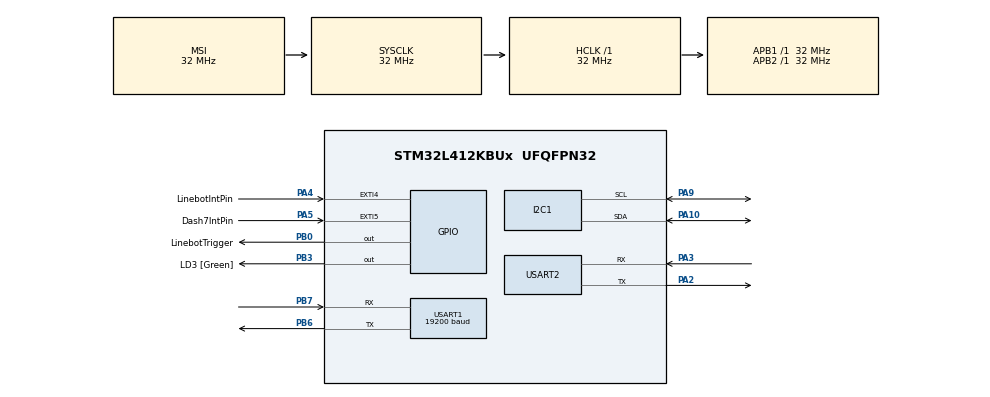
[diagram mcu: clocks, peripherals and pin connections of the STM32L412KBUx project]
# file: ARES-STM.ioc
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Dma.Request0=USART2_RX
Dma.Request1=USART1_RX
Dma.USART1_RX.1.Direction=DMA_PERIPH_TO_MEMORY
Dma.USART1_RX.1.Instance=DMA1_Channel5
Dma.USART1_RX.1.MemDataAlignment=DMA_MDATAALIGN_BYTE
Dma.USART1_RX.1.MemInc=DMA_MINC_ENABLE
Dma.USART1_RX.1.Mode=DMA_NORMAL
Dma.USART1_RX.1.PeriphDataAlignment=DMA_PDATAALIGN_BYTE
Dma.USART1_RX.1.PeriphInc=DMA_PINC_DISABLE
Dma.USART1_RX.1.Priority=DMA_PRIORITY_LOW
Dma.USART2_RX.0.Direction=DMA_PERIPH_TO_MEMORY
Dma.USART2_RX.0.Instance=DMA1_Channel6
Dma.USART2_RX.0.MemDataAlignment=DMA_MDATAALIGN_BYTE
Dma.USART2_RX.0.MemInc=DMA_MINC_ENABLE
Dma.USART2_RX.0.Mode=DMA_NORMAL
Dma.USART2_RX.0.PeriphDataAlignment=DMA_PDATAALIGN_BYTE
Dma.USART2_RX.0.PeriphInc=DMA_PINC_DISABLE
Dma.USART2_RX.0.Priority=DMA_PRIORITY_HIGH
FREERTOS.Queues01=uart1Queue,16,uint16_t,0,Dynamic,NULL,NULL;uart2Queue,2,Dash7ToSTM32Message,0,Dynamic,NULL,NULL
FREERTOS.Tasks01=defaultTask,48,128,StartDefaultTask,Default,NULL,Dynamic,NULL,NULL;NavigationTask,34,128,StartNavigationTask,Default,NULL,Dynamic,NULL,NULL;DemoTask,45,128,StartDemoTask,Default,NULL,Dynamic,NULL,NULL;SensingTask,24,128,StartSensingTask,Default,NULL,Dynamic,NULL,NULL
FREERTOS.configTOTAL_HEAP_SIZE=5000
FREERTOS.configUSE_NEWLIB_REENTRANT=1
FREERTOS.configUSE_TICKLESS_IDLE=1
I2C1.Timing=0x00707CBB
Mcu.Family=STM32L4
Mcu.Name=STM32L412KBUx
Mcu.Package=UFQFPN32
NVIC.DMA1_Channel5_IRQn=true\:5\:0\:false\:false\:true\:true\:false\:true\:true
NVIC.DMA1_Channel6_IRQn=true\:5\:0\:false\:false\:true\:true\:false\:true\:true
NVIC.EXTI4_IRQn=true\:5\:0\:true\:false\:true\:true\:true\:true\:true
NVIC.EXTI9_5_IRQn=true\:5\:0\:false\:false\:true\:true\:true\:true\:true
NVIC.PriorityGroup=NVIC_PRIORITYGROUP_4
NVIC.TIM6_IRQn=true\:15\:0\:false\:false\:true\:false\:false\:true\:true
NVIC.TimeBase=TIM6_IRQn
NVIC.TimeBaseIP=TIM6
NVIC.USART2_IRQn=true\:5\:0\:false\:false\:true\:true\:true\:true\:true
PA0-CK_IN.Mode=HSE-External-Clock-Source-for-LittleOrca
PA0-CK_IN.Signal=RCC_CK_IN
PA10.Mode=I2C
PA10.Signal=I2C1_SDA
PA13\ (JTMS/SWDIO).GPIO_Label=SWDIO
PA13\ (JTMS/SWDIO).Mode=Serial_Wire
PA13\ (JTMS/SWDIO).Signal=SYS_JTMS-SWDIO
PA14\ (JTCK/SWCLK).GPIO_Label=SWCLK
PA14\ (JTCK/SWCLK).Mode=Serial_Wire
PA14\ (JTCK/SWCLK).Signal=SYS_JTCK-SWCLK
PA2.GPIO_ModeDefaultPP=GPIO_MODE_AF_PP
PA2.GPIO_PuPd=GPIO_NOPULL
PA2.GPIO_Speed=GPIO_SPEED_FREQ_VERY_HIGH
PA2.Mode=Asynchronous
PA2.Signal=USART2_TX
PA3.GPIO_ModeDefaultPP=GPIO_MODE_AF_PP
PA3.GPIO_PuPd=GPIO_NOPULL
PA3.GPIO_Speed=GPIO_SPEED_FREQ_VERY_HIGH
PA3.Mode=Asynchronous
PA3.Signal=USART2_RX
PA4.GPIO_Label=LinebotIntPin
PA4.GPIO_ModeDefaultEXTI=GPIO_MODE_IT_FALLING
PA4.GPIO_PuPd=GPIO_PULLUP
PA4.Signal=GPXTI4
PA5.GPIO_Label=Dash7IntPin
PA5.GPIO_ModeDefaultEXTI=GPIO_MODE_IT_FALLING
PA5.GPIO_PuPd=GPIO_PULLUP
PA5.Signal=GPXTI5
PA9.Mode=I2C
PA9.Signal=I2C1_SCL
PB0.GPIO_Label=LinebotTrigger
PB0.GPIO_PuPd=GPIO_PULLUP
PB0.Signal=GPIO_Output
PB3\ (JTDO/TRACESWO).GPIO_Label=LD3 [Green]
PB3\ (JTDO/TRACESWO).Signal=GPIO_Output
PB6.Mode=Asynchronous
PB6.Signal=USART1_TX
PB7.Mode=Asynchronous
PB7.Signal=USART1_RX
PC14-OSC32_IN\ (PC14).Mode=LSE-External-Oscillator
PC14-OSC32_IN\ (PC14).Signal=RCC_OSC32_IN
PC15-OSC32_OUT\ (PC15).Mode=LSE-External-Oscillator
PC15-OSC32_OUT\ (PC15).Signal=RCC_OSC32_OUT
ProjectManager.HeapSize=0x200
ProjectManager.StackSize=0x400
ProjectManager.TargetToolchain=STM32CubeIDE
RCC.ADCFreq_Value=32000000
RCC.AHBFreq_Value=32000000
RCC.APB1Freq_Value=32000000
RCC.APB1TimFreq_Value=32000000
RCC.APB2Freq_Value=32000000
RCC.APB2TimFreq_Value=32000000
RCC.CortexFreq_Value=32000000
RCC.FLatency=FLASH_LATENCY_1
RCC.HCLKFreq_Value=32000000
RCC.HSE_VALUE=8000000
RCC.HSI48_VALUE=48000000
RCC.HSICalibrationValue=16
RCC.HSI_VALUE=16000000
RCC.LSE_Drive_Capability=RCC_LSEDRIVE_LOW
RCC.MSIClockRange=RCC_MSIRANGE_10
RCC.MSI_VALUE=32000000
RCC.SYSCLKFreq_VALUE=32000000
RCC.USBFreq_Value=32000000
RCC.VCOOutputFreq_Value=256000000
USART1.BaudRate=19200
USART1.VirtualMode-Asynchronous=VM_ASYNC
USART2.VirtualMode-Asynchronous=VM_ASYNC
VP_FREERTOS_VS_CMSIS_V2.Mode=CMSIS_V2
VP_SYS_VS_tim6.Mode=TIM6
board=NUCLEO-L412KB

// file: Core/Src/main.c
/* USER CODE BEGIN Header */
/**
  ******************************************************************************
  * @file           : main.c
  * @brief          : Main program body
  ******************************************************************************
  * @attention
  *
  * Copyright (c) 2023 STMicroelectronics.
  * All rights reserved.
  *
  * This software is licensed under terms that can be found in the LICENSE file
  * in the root directory of this software component.
  * If no LICENSE file comes with this software, it is provided AS-IS.
  *
  ******************************************************************************
  */
/* USER CODE END Header */
#include "main.h"
#include "cmsis_os.h"

/* USER CODE BEGIN Includes */
#include <stdio.h>
#include "queue.h"
#include "LTR329.h"
#include "SHT40.h"
#include "CustomProtocol.h"
#include <math.h>
#include <string.h>

/* USER CODE END Includes */

/* USER CODE BEGIN PD */
#define UID 0x0001
/* USER CODE END PD */

I2C_HandleTypeDef hi2c1;

UART_HandleTypeDef huart1;
UART_HandleTypeDef huart2;
DMA_HandleTypeDef hdma_usart1_rx;
DMA_HandleTypeDef hdma_usart2_rx;

/* Definitions for defaultTask */
osThreadId_t defaultTaskHandle;
const osThreadAttr_t defaultTask_attributes = {
  .name = "defaultTask",
  .stack_size = 128 * 4,
  .priority = (osPriority_t) osPriorityRealtime,
};
/* Definitions for NavigationTask */
osThreadId_t NavigationTaskHandle;
const osThreadAttr_t NavigationTask_attributes = {
  .name = "NavigationTask",
  .stack_size = 128 * 4,
  .priority = (osPriority_t) osPriorityAboveNormal2,
};
/* Definitions for DemoTask */
osThreadId_t DemoTaskHandle;
const osThreadAttr_t DemoTask_attributes = {
  .name = "DemoTask",
  .stack_size = 128 * 4,
  .priority = (osPriority_t) osPriorityHigh5,
};
/* Definitions for SensingTask */
osThreadId_t SensingTaskHandle;
const osThreadAttr_t SensingTask_attributes = {
  .name = "SensingTask",
  .stack_size = 128 * 4,
  .priority = (osPriority_t) osPriorityNormal,
};
/* Definitions for uart1Queue */
osMessageQueueId_t uart1QueueHandle;
const osMessageQueueAttr_t uart1Queue_attributes = {
  .name = "uart1Queue"
};
/* Definitions for uart2Queue */
osMessageQueueId_t uart2QueueHandle;
const osMessageQueueAttr_t uart2Queue_attributes = {
  .name = "uart2Queue"
};
/* USER CODE BEGIN PV */

uint8_t uart1_buffer[sizeof(LineBotToSTM32Message)], uart2_buffer[sizeof(BLERoverMessage)];
uint8_t uart1_accumulate_buffer[UART_BUFFER_SIZE],uart2_accumulate_buffer[UART_BUFFER_SIZE];;
uint8_t uart1_accumulate_pos = 0;
uint8_t uart2_accumulate_pos = 0;
uint16_t light_ch0, light_ch1,raw_temp,raw_humidity;
uint8_t receivedData[100]; // Adjust size as needed
const uint8_t verbose=0;

ReceiveState UART1receiveState = WAIT_FOR_START_DELIMITER;
uint16_t dataLength = 0;
uint8_t dataReceived = 0;
uint8_t* dma_buffer = NULL;
float curX = 0;
float curY = 0;
float curAngle = 0;
float targetX = 0;
float targetY = 0;
float targetAngle = 0;
float plannedAngle = 0;
SensorMeasurements targetMeasurements;
Dash7ToSTM32Message newInstruction;
BLERoverMessage bleMessage;
uint8_t BLEstarted;
uint8_t shouldStop;

/* USER CODE END PV */

void SystemClock_Config(void);
static void MX_GPIO_Init(void);
static void MX_DMA_Init(void);
static void MX_USART2_UART_Init(void);
static void MX_I2C1_Init(void);
static void MX_USART1_UART_Init(void);
void StartDefaultTask(void *argument);
void StartNavigationTask(void *argument);
void StartDemoTask(void *argument);
void StartSensingTask(void *argument);

/* USER CODE BEGIN PFP */
#ifdef __GNUC__
#define PUTCHAR_PROTOTYPE int __io_putchar(int ch)
#else
#define PUTCHAR_PROTOTYPE int fputc(int ch, FILE *f)
#endif

PUTCHAR_PROTOTYPE {
	HAL_UART_Transmit(&huart2, (uint8_t*) &ch, 1, HAL_MAX_DELAY);
	return ch;
}

void transmitInstructions(navigationInstruction* instructions, uint8_t instructionCnt);
uint8_t receiveInstructions(uint8_t* data, uint16_t dataLength);
//void printInstructions(navigationInstruction* instructions, uint16_t numInstructions);
uint8_t calculatePath(navigationInstruction* instructions);

void Toggle_LED(void) {
    HAL_GPIO_TogglePin(GPIOB, GPIO_PIN_3);
}
void Enter_Stop2_Mode(void) {
//	HAL_GPIO_WritePin(GPIOB, GPIO_PIN_3, GPIO_PIN_RESET);

    // Enter Stop 2 mode
    HAL_PWREx_EnterSTOP2Mode(PWR_STOPENTRY_WFI);
}

//void HAL_GPIO_EXTI_Callback(uint16_t GPIO_Pin) {
//    printf("ISR");
//    if (GPIO_Pin == GPIO_PIN_4) {
//        // This function will be called by the HAL interrupt handler which should clear the pending bit
//        // Perform tasks upon EXTI interrupt from PA4
//        // For example, signaling a task or setting a flag
////        SystemClock_Config();
//        printf("ISR");
//        // Set a flag to indicate that a wakeup event has occurred
//        justWokenUpFromStop2 = 1;
//        shouldStop = 0;
//    }
//}

/* USER CODE END PFP */

/* USER CODE BEGIN 0 */

void HAL_GPIO_EXTI_Callback(uint16_t GPIO_Pin)
{
    if (GPIO_Pin == GPIO_PIN_4 || GPIO_Pin == GPIO_PIN_5) {
        // This function will be called by the HAL interrupt handler which should clear the pending bit
        // Perform tasks upon EXTI interrupt from PA4
        // For example, signaling a task or setting a flag
//        SystemClock_Config();
        // Set a flag to indicate that a wakeup event has occurred
        shouldStop = 0;
        HAL_GPIO_TogglePin(LD3_GPIO_Port, LD3_Pin);
    }
}

uint8_t calculatePath(navigationInstruction* instructions){
    uint8_t instructionCount = 0;
    float deltaX = targetX - curX;
    float deltaY = targetY - curY;

    // Calculate the angle to the target point
    float targetAngle = atan2(deltaX, deltaY) * (180.0 / M_PI);
    targetAngle = fmod(targetAngle + 360.0, 360.0); // Ensure the angle is between 0 and 360

    // Calculate the shortest turn to the target angle
    float turnAngle = targetAngle - curAngle;
    if (turnAngle < -180.0) turnAngle += 360.0;
    if (turnAngle > 180.0) turnAngle -= 360.0;

    // Turn to face the target point
    if (turnAngle != 0.0) {
        instructions[instructionCount].instructionType = turnAngle > 0.0 ? CLOCKWISE : COUNTERCLOCKWISE;
        instructions[instructionCount].instructionValue = fabs(turnAngle);
        instructionCount++;
        plannedAngle = targetAngle;
    }

    // Move to the target point
    float distance = sqrt(deltaX * deltaX + deltaY * deltaY);
    instructions[instructionCount].instructionType =  FORWARD ;
    instructions[instructionCount].instructionValue = distance;
    instructionCount++;

    // Add a stop instruction
    instructions[instructionCount].instructionType = STOP;
    instructions[instructionCount].instructionValue = 0.0;
    instructionCount++;

    return instructionCount;
}

void transmitInstructions(navigationInstruction* instructions, uint8_t instructionCnt){
    /* Transmit the instructions to the line bot
      Transmissions consists of a START_DELIMITER, Instruction Count, payload and END_DELIMITER
      Instruction Count is a 1 byte value
      Payload consists of the instructions which are 5 bytes each
      The data is transmitted on USART2 using HAL_UART_Transmit
    */

	//Wakeup LineBot
	HAL_GPIO_WritePin(LinebotTrigger_GPIO_Port, LinebotTrigger_Pin, GPIO_PIN_RESET);

    uint8_t transmission[instructionCnt*sizeof(navigationInstruction) + 3];

    transmission[0] = START_DELIMITER;
    transmission[1] = instructionCnt;
    for (int i = 0; i < instructionCnt; i++) {
        transmission[2 + i*sizeof(navigationInstruction)] = instructions[i].instructionType;
        memcpy(&transmission[3 + i*sizeof(navigationInstruction)], &instructions[i].instructionValue, 4);
    }
    transmission[instructionCnt*sizeof(navigationInstruction) + 2] = END_DELIMITER;
    HAL_UART_Transmit(&huart1, transmission, instructionCnt*sizeof(navigationInstruction) + 3, HAL_MAX_DELAY);

	HAL_GPIO_WritePin(LinebotTrigger_GPIO_Port, LinebotTrigger_Pin, GPIO_PIN_SET);
    //TODO: wait for transmission to complete and go to sleep
    vTaskDelay(50);
//    Enter_Stop2_Mode();
    shouldStop =1;
//    receiveInstructions(transmission, instructionCnt*sizeof(navigationInstruction) + 3);
}
/* USER CODE END 0 */

int main(void)
{

  /* MCU Configuration--------------------------------------------------------*/

  /* Reset of all peripherals, Initializes the Flash interface and the Systick. */
  HAL_Init();

  /* Configure the system clock */
  SystemClock_Config();

  /* Initialize all configured peripherals */
  MX_GPIO_Init();
  MX_DMA_Init();
  MX_USART2_UART_Init();
  MX_I2C1_Init();
  MX_USART1_UART_Init();
  /* USER CODE BEGIN 2 */
//  HAL_UART_Receive_IT(&huart2, uart2_buffer, 1);
//  HAL_UART_Receive_IT(&huart1, uart1_buffer, 1);
  if (verbose) printf("Starting Setup\n");
  shouldStop = 0;

  /* USER CODE END 2 */

  /* Init scheduler */
  osKernelInitialize();

  /* Create the queue(s) */
  /* creation of uart1Queue */
  uart1QueueHandle = osMessageQueueNew (16, sizeof(uint16_t), &uart1Queue_attributes);

  /* creation of uart2Queue */
  uart2QueueHandle = osMessageQueueNew (2, sizeof(Dash7ToSTM32Message), &uart2Queue_attributes);

  /* Create the thread(s) */
  /* creation of defaultTask */
  defaultTaskHandle = osThreadNew(StartDefaultTask, NULL, &defaultTask_attributes);

  /* creation of NavigationTask */
  NavigationTaskHandle = osThreadNew(StartNavigationTask, NULL, &NavigationTask_attributes);

  /* creation of DemoTask */
  DemoTaskHandle = osThreadNew(StartDemoTask, NULL, &DemoTask_attributes);

  /* creation of SensingTask */
  SensingTaskHandle = osThreadNew(StartSensingTask, NULL, &SensingTask_attributes);

  /* USER CODE BEGIN RTOS_THREADS */
//  vTaskSuspend(NavigationTaskHandle);
  /* add threads, ... */
  /* USER CODE END RTOS_THREADS */

  /* Start scheduler */
  osKernelStart();

  /* We should never get here as control is now taken by the scheduler */
  /* Infinite loop */
  while (1)
  {

  }
}

void SystemClock_Config(void)
{
  RCC_OscInitTypeDef RCC_OscInitStruct = {0};
  RCC_ClkInitTypeDef RCC_ClkInitStruct = {0};

  /** Configure the main internal regulator output voltage
  */
  if (HAL_PWREx_ControlVoltageScaling(PWR_REGULATOR_VOLTAGE_SCALE1) != HAL_OK)
  {
    Error_Handler();
  }

  /** Configure LSE Drive Capability
  */
  HAL_PWR_EnableBkUpAccess();
  __HAL_RCC_LSEDRIVE_CONFIG(RCC_LSEDRIVE_LOW);

  /** Initializes the RCC Oscillators according to the specified parameters
  * in the RCC_OscInitTypeDef structure.
  */
  RCC_OscInitStruct.OscillatorType = RCC_OSCILLATORTYPE_LSE|RCC_OSCILLATORTYPE_MSI;
  RCC_OscInitStruct.LSEState = RCC_LSE_ON;
  RCC_OscInitStruct.MSIState = RCC_MSI_ON;
  RCC_OscInitStruct.MSICalibrationValue = 0;
  RCC_OscInitStruct.MSIClockRange = RCC_MSIRANGE_10;
  RCC_OscInitStruct.PLL.PLLState = RCC_PLL_NONE;
  if (HAL_RCC_OscConfig(&RCC_OscInitStruct) != HAL_OK)
  {
    Error_Handler();
  }

  /** Initializes the CPU, AHB and APB buses clocks
  */
  RCC_ClkInitStruct.ClockType = RCC_CLOCKTYPE_HCLK|RCC_CLOCKTYPE_SYSCLK
                              |RCC_CLOCKTYPE_PCLK1|RCC_CLOCKTYPE_PCLK2;
  RCC_ClkInitStruct.SYSCLKSource = RCC_SYSCLKSOURCE_MSI;
  RCC_ClkInitStruct.AHBCLKDivider = RCC_SYSCLK_DIV1;
  RCC_ClkInitStruct.APB1CLKDivider = RCC_HCLK_DIV1;
  RCC_ClkInitStruct.APB2CLKDivider = RCC_HCLK_DIV1;

  if (HAL_RCC_ClockConfig(&RCC_ClkInitStruct, FLASH_LATENCY_1) != HAL_OK)
  {
    Error_Handler();
  }

  /** Enable MSI Auto calibration
  */
  HAL_RCCEx_EnableMSIPLLMode();
}

static void MX_I2C1_Init(void)
{

  hi2c1.Instance = I2C1;
  hi2c1.Init.Timing = 0x00707CBB;
  hi2c1.Init.OwnAddress1 = 0;
  hi2c1.Init.AddressingMode = I2C_ADDRESSINGMODE_7BIT;
  hi2c1.Init.DualAddressMode = I2C_DUALADDRESS_DISABLE;
  hi2c1.Init.OwnAddress2 = 0;
  hi2c1.Init.OwnAddress2Masks = I2C_OA2_NOMASK;
  hi2c1.Init.GeneralCallMode = I2C_GENERALCALL_DISABLE;
  hi2c1.Init.NoStretchMode = I2C_NOSTRETCH_DISABLE;
  if (HAL_I2C_Init(&hi2c1) != HAL_OK)
  {
    Error_Handler();
  }

  /** Configure Analogue filter
  */
  if (HAL_I2CEx_ConfigAnalogFilter(&hi2c1, I2C_ANALOGFILTER_ENABLE) != HAL_OK)
  {
    Error_Handler();
  }

  /** Configure Digital filter
  */
  if (HAL_I2CEx_ConfigDigitalFilter(&hi2c1, 0) != HAL_OK)
  {
    Error_Handler();
  }

}

static void MX_USART1_UART_Init(void)
{

  huart1.Instance = USART1;
  huart1.Init.BaudRate = 19200;
  huart1.Init.WordLength = UART_WORDLENGTH_8B;
  huart1.Init.StopBits = UART_STOPBITS_1;
  huart1.Init.Parity = UART_PARITY_NONE;
  huart1.Init.Mode = UART_MODE_TX_RX;
  huart1.Init.HwFlowCtl = UART_HWCONTROL_NONE;
  huart1.Init.OverSampling = UART_OVERSAMPLING_16;
  huart1.Init.OneBitSampling = UART_ONE_BIT_SAMPLE_DISABLE;
  huart1.AdvancedInit.AdvFeatureInit = UART_ADVFEATURE_NO_INIT;
  if (HAL_UART_Init(&huart1) != HAL_OK)
  {
    Error_Handler();
  }

}

static void MX_USART2_UART_Init(void)
{

  huart2.Instance = USART2;
  huart2.Init.BaudRate = 115200;
  huart2.Init.WordLength = UART_WORDLENGTH_8B;
  huart2.Init.StopBits = UART_STOPBITS_1;
  huart2.Init.Parity = UART_PARITY_NONE;
  huart2.Init.Mode = UART_MODE_TX_RX;
  huart2.Init.HwFlowCtl = UART_HWCONTROL_NONE;
  huart2.Init.OverSampling = UART_OVERSAMPLING_16;
  huart2.Init.OneBitSampling = UART_ONE_BIT_SAMPLE_DISABLE;
  huart2.AdvancedInit.AdvFeatureInit = UART_ADVFEATURE_NO_INIT;
  if (HAL_UART_Init(&huart2) != HAL_OK)
  {
    Error_Handler();
  }

}

static void MX_DMA_Init(void)
{

  /* DMA controller clock enable */
  __HAL_RCC_DMA1_CLK_ENABLE();

  /* DMA interrupt init */
  /* DMA1_Channel5_IRQn interrupt configuration */
  HAL_NVIC_SetPriority(DMA1_Channel5_IRQn, 5, 0);
  HAL_NVIC_EnableIRQ(DMA1_Channel5_IRQn);
  /* DMA1_Channel6_IRQn interrupt configuration */
  HAL_NVIC_SetPriority(DMA1_Channel6_IRQn, 5, 0);
  HAL_NVIC_EnableIRQ(DMA1_Channel6_IRQn);

}

static void MX_GPIO_Init(void)
{
  GPIO_InitTypeDef GPIO_InitStruct = {0};

  /* GPIO Ports Clock Enable */
  __HAL_RCC_GPIOC_CLK_ENABLE();
  __HAL_RCC_GPIOA_CLK_ENABLE();
  __HAL_RCC_GPIOB_CLK_ENABLE();

  /*Configure GPIO pin Output Level */
  HAL_GPIO_WritePin(GPIOB, LinebotTrigger_Pin|LD3_Pin, GPIO_PIN_RESET);

  /*Configure GPIO pins : LinebotIntPin_Pin Dash7IntPin_Pin */
  GPIO_InitStruct.Pin = LinebotIntPin_Pin|Dash7IntPin_Pin;
  GPIO_InitStruct.Mode = GPIO_MODE_IT_FALLING;
  GPIO_InitStruct.Pull = GPIO_PULLUP;
  HAL_GPIO_Init(GPIOA, &GPIO_InitStruct);

  /*Configure GPIO pin : LinebotTrigger_Pin */
  GPIO_InitStruct.Pin = LinebotTrigger_Pin;
  GPIO_InitStruct.Mode = GPIO_MODE_OUTPUT_PP;
  GPIO_InitStruct.Pull = GPIO_PULLUP;
  GPIO_InitStruct.Speed = GPIO_SPEED_FREQ_LOW;
  HAL_GPIO_Init(LinebotTrigger_GPIO_Port, &GPIO_InitStruct);

  /*Configure GPIO pin : LD3_Pin */
  GPIO_InitStruct.Pin = LD3_Pin;
  GPIO_InitStruct.Mode = GPIO_MODE_OUTPUT_PP;
  GPIO_InitStruct.Pull = GPIO_NOPULL;
  GPIO_InitStruct.Speed = GPIO_SPEED_FREQ_LOW;
  HAL_GPIO_Init(LD3_GPIO_Port, &GPIO_InitStruct);

  /* EXTI interrupt init*/
  HAL_NVIC_SetPriority(EXTI4_IRQn, 5, 0);
  HAL_NVIC_EnableIRQ(EXTI4_IRQn);

  HAL_NVIC_SetPriority(EXTI9_5_IRQn, 5, 0);
  HAL_NVIC_EnableIRQ(EXTI9_5_IRQn);

}

/* USER CODE BEGIN 4 */
void HAL_UART_RxCpltCallback(UART_HandleTypeDef *huart)
{
	if (huart->Instance == USART1)
	{
		if (uart1_buffer[0]== START_DELIMITER && uart1_buffer[13]==END_DELIMITER) {
		  memcpy(&curX, &uart1_buffer[1], sizeof(float));
		  memcpy(&curY, &uart1_buffer[5], sizeof(float));
		  memcpy(&curAngle, &uart1_buffer[9], sizeof(float));

		  vTaskNotifyGiveFromISR(SensingTaskHandle, pdFALSE);
		}
		HAL_UART_Receive_DMA(&huart1, uart1_buffer, 14);
	}
	else if (huart->Instance == USART2)
	{
		//Can either be a BLE message or a new instruction
		//Case of new instruction
		if (uart2_buffer[0] == START_DELIMITER && uart2_buffer[10] == END_DELIMITER && uart2_buffer[11] == 0x00) {
		  // Received a new instruction
		  // Copy the instruction into the newInstruction variable
		  newInstruction.startDelimiter = uart2_buffer[0];

		  memcpy(&newInstruction.xCoord, &uart2_buffer[1], sizeof(float));
		  memcpy(&newInstruction.yCoord, &uart2_buffer[5], sizeof(float));

		  newInstruction.sensorControl = uart2_buffer[9];
		  newInstruction.endDelimiter = uart2_buffer[10];

		  // HAL_UART_Transmit(&huart2, uart2_buffer, 11, HAL_MAX_DELAY);

		  // Notify the StartNavigationTask
		  vTaskNotifyGiveFromISR(NavigationTaskHandle, pdFALSE);
		}
		//case of BLE message
		else if (uart2_buffer[0] == START_DELIMITER && uart2_buffer[26] == END_DELIMITER) {
		  // Received a BLE message
		  // Copy the message into the receivedData variable
		  memcpy(&bleMessage, uart2_buffer, 27);
		  // printf("BLE Message Received\n");
		  // printf("BLE Message: ");
		  // HAL_UART_Transmit(&huart2, &bleMessage, 27, HAL_MAX_DELAY);
		}

		// Prepare to receive the next message
		HAL_UART_Receive_DMA(&huart2, uart2_buffer, 27);
	}
}

void printSensorMeasurements(SensorMeasurements measurements) {
    const char* measurementStrings[] = {"?","No", "Yes", "Optional"};

    printf("\nTemperature: %s\n", measurementStrings[measurements.temperature]);
    printf("Humidity: %s\n", measurementStrings[measurements.humidity]);
    printf("Visible Light: %s\n", measurementStrings[measurements.visibleLight]);
    printf("Infrared: %s\n", measurementStrings[measurements.infrared]);
}

/* USER CODE END 4 */

void StartDefaultTask(void *argument)
{
  /* USER CODE BEGIN 5 */
  BLEstarted = 0;
  HAL_UART_Receive_DMA(&huart2, uart2_buffer,27);
  HAL_UART_Receive_DMA(&huart1, uart1_buffer,14);
  LTR329_Init();
  if (verbose) printf("Setup complete\n");
  vTaskSuspend(NULL);
//  Enter_Stop2_Mode();
  /* Infinite loop */
  for(;;)
  {
	  Toggle_LED();
	  osDelay(500);
  }
  /* USER CODE END 5 */
}

void StartNavigationTask(void *argument)
{
  /* USER CODE BEGIN StartNavigationTask */
  /* Infinite loop */
  for(;;)
  {
    uint32_t ulNotificationValue;
    BaseType_t xResult = xTaskNotifyWait( pdFALSE, 0, &ulNotificationValue, portMAX_DELAY );

    if( xResult == pdPASS )
    {
      /* A notification was received. */
      if (newInstruction.startDelimiter == START_DELIMITER && newInstruction.endDelimiter == END_DELIMITER)
      {
        targetX = newInstruction.xCoord;
        targetY = newInstruction.yCoord;
        memcpy(&targetMeasurements, &newInstruction.sensorControl, sizeof(targetMeasurements));
        navigationInstruction instructions[INSTRUCTION_BUFFER_SIZE];
        uint8_t instructionCnt = calculatePath(instructions);
        transmitInstructions(instructions, instructionCnt);
      }
    }
  }
  /* USER CODE END StartNavigationTask */
}

void StartDemoTask(void *argument)
{
  /* USER CODE BEGIN StartDemoTask */
	if (verbose) printf("Start Demo Task");
	vTaskDelay(10); //Gives LineBot time to startup before sending instructions
	targetX = newInstruction.xCoord;
	targetY = newInstruction.yCoord;
	memcpy(&targetMeasurements, &newInstruction.sensorControl, sizeof(targetMeasurements));
	navigationInstruction instructions[10];
  uint8_t instructionCount = 0;

  //Create array of points to move to
  float points[4][2] = {{0,250},{250,250},{0,500},{250,750}};

  //Move to each point
  for (int i = 0; i < 4; i++) {
    targetX = points[i][0];
    targetY = points[i][1];
    float deltaX = targetX - curX;
    float deltaY = targetY - curY;
    curX = targetX;
    curY = targetY;

    // Calculate the angle to the target point
    float targetAngle = atan2(deltaX, deltaY) * (180.0 / M_PI);
    targetAngle = fmod(targetAngle + 360.0, 360.0); // Ensure the angle is between 0 and 360

    // Calculate the shortest turn to the target angle
    float turnAngle = targetAngle - curAngle;
    if (turnAngle < -180.0) turnAngle += 360.0;
    if (turnAngle > 180.0) turnAngle -= 360.0;

    // Turn to face the target point
    if (turnAngle != 0.0) {
        instructions[instructionCount].instructionType = turnAngle > 0.0 ? CLOCKWISE : COUNTERCLOCKWISE;
        instructions[instructionCount].instructionValue = fabs(turnAngle);
        instructionCount++;
        curAngle = targetAngle;
    }

    // Move to the target point
    float distance = sqrt(deltaX * deltaX + deltaY * deltaY);
    instructions[instructionCount].instructionType =  FORWARD;
    instructions[instructionCount].instructionValue = distance;
    instructionCount++;
  }

  // Add a stop instruction
  instructions[instructionCount].instructionType = STOP;
  instructions[instructionCount].instructionValue = 0.0;
  instructionCount++;

  transmitInstructions(instructions, instructionCount);

	vTaskSuspend(NULL); //Stop DemoTask
  /* Infinite loop */
  /* USER CODE END StartDemoTask */
}

void StartSensingTask(void *argument)
{
  /* USER CODE BEGIN StartSensingTask */
  /* Infinite loop */
  for(;;)
  {
    uint32_t ulNotificationValue;
    BaseType_t xResult = xTaskNotifyWait( pdFALSE, 0, &ulNotificationValue, portMAX_DELAY );
//	 BaseType_t xResult =  pdPASS;
//	vTaskDelay(1000);

    if( xResult == pdPASS )
    {
      /* A notification was received. */
      //Read temp & humidity data
      SHT40_Read_Temp_Hum(&raw_temp, &raw_humidity);
      // Read light data
	  LTR329_Read_Light(&light_ch0, &light_ch1);

      //Send data to Dash7
      STM32ToDash7Message msg;
      msg.startDelimiter = START_DELIMITER;
      msg.xCoord = curX;
      msg.yCoord = curY;
      msg.angle = curAngle;
      msg.light = light_ch0;
      msg.ir = light_ch1;
      msg.temperature = raw_temp;
      msg.humidity = raw_humidity;
      msg.uid = UID;
      msg.battery = 100;
      msg.endDelimiter = END_DELIMITER;

      // Send the message to the Dash7 task
      HAL_UART_Transmit(&huart2, (uint8_t*) &msg, sizeof(msg), HAL_MAX_DELAY);
      vTaskDelay(50);
      shouldStop = 1;
    }
  }
  /* USER CODE END StartSensingTask */
}

void HAL_TIM_PeriodElapsedCallback(TIM_HandleTypeDef *htim)
{
  if (htim->Instance == TIM6) {
    HAL_IncTick();
  }
}

void Error_Handler(void)
{
  __disable_irq();
  while (1)
  {
  }
}

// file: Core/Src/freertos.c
/* USER CODE BEGIN Header */
/**
  ******************************************************************************
  * File Name          : freertos.c
  * Description        : Code for freertos applications
  ******************************************************************************
  * @attention
  *
  * Copyright (c) 2023 STMicroelectronics.
  * All rights reserved.
  *
  * This software is licensed under terms that can be found in the LICENSE file
  * in the root directory of this software component.
  * If no LICENSE file comes with this software, it is provided AS-IS.
  *
  ******************************************************************************
  */
/* USER CODE END Header */

#include "FreeRTOS.h"
#include "task.h"
#include "main.h"

/* USER CODE BEGIN Includes */
#include "stm32l4xx_hal.h"

/* USER CODE END Includes */

/* USER CODE BEGIN Variables */
extern uint8_t shouldStop;

extern UART_HandleTypeDef huart2;
/* USER CODE END Variables */

/* USER CODE BEGIN PREPOSTSLEEP */
__weak void PreSleepProcessing(uint32_t ulExpectedIdleTime)
{
/* place for user code */
	if (shouldStop) {
		shouldStop=0;
		HAL_PWREx_EnterSTOP2Mode(PWR_STOPENTRY_WFI); ///< Enters sleep mode here
	}
}

__weak void PostSleepProcessing(uint32_t ulExpectedIdleTime)
{
/* place for user code */
//	shouldStop=0;
}
/* USER CODE END PREPOSTSLEEP */
